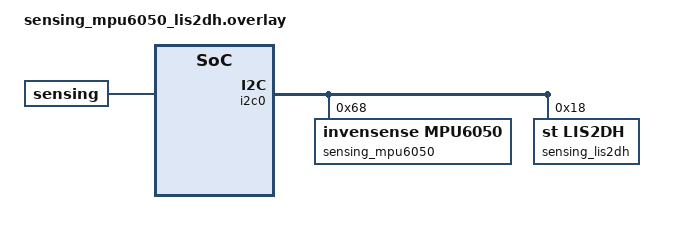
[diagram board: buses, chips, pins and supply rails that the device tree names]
/* SPDX-License-Identifier: Apache-2.0 OR MIT */
/*
 * samples/subsys/sensing/simple's sensing node, as its native_sim overlay
 * builds it, on parts the harness has: a base accelerometer and gyroscope
 * (an MPU-6050 at 0x68), a lid accelerometer (a LIS2DH-family part at
 * 0x18), and the hinge angle between them, all on I2C0 (i2c0.overlay).
 */
#include <zephyr/sensing/sensing_sensor_types.h>

&i2c0 {
	sensing_mpu6050: mpu6050@68 {
		compatible = "invensense,mpu6050";
		reg = <0x68>;
		status = "okay";
	};

	sensing_lis2dh: lis2dh@18 {
		compatible = "st,lis2dh";
		reg = <0x18>;
		status = "okay";
	};
};

/ {
	sensing: sensing-node {
		compatible = "zephyr,sensing";
		status = "okay";

		base_accel_gyro: base-accel-gyro {
			compatible = "zephyr,sensing-phy-3d-sensor";
			status = "okay";
			sensor-types = <SENSING_SENSOR_TYPE_MOTION_ACCELEROMETER_3D
					SENSING_SENSOR_TYPE_MOTION_GYROMETER_3D>;
			friendly-name = "Base Accel Gyro Sensor";
			minimal-interval = <625>;
			underlying-device = <&sensing_mpu6050>;
		};

		lid_accel: lid-accel {
			compatible = "zephyr,sensing-phy-3d-sensor";
			status = "okay";
			sensor-types = <SENSING_SENSOR_TYPE_MOTION_ACCELEROMETER_3D>;
			friendly-name = "Lid Accel Sensor";
			minimal-interval = <625>;
			underlying-device = <&sensing_lis2dh>;
		};

		hinge_angle: hinge-angle {
			compatible = "zephyr,sensing-hinge-angle";
			status = "okay";
			sensor-types = <SENSING_SENSOR_TYPE_MOTION_HINGE_ANGLE>;
			friendly-name = "Hinge Angle Sensor";
			reporters = <&base_accel_gyro &lid_accel>;
			reporters-index = <0 0>;
			minimal-interval = <100000>;
			stream-mode;
		};
	};
};
